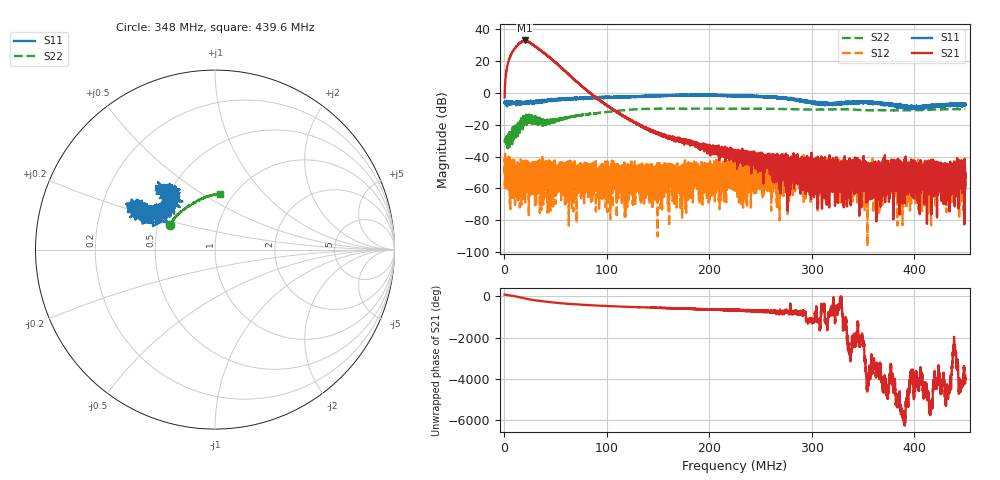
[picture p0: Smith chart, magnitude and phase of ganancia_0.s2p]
# Hz S DB R 50
! CMT, M5065, 19127446, 24.2.4/2
! Date: 12/3/2024 4:23:08 PM
! Data: Format (Calibration Info)
! Freq	S11:dB/Ang(F2)	S21:dB/Ang(F2)	S12:dB/Ang(F2)	S22:dB/Ang(F2)
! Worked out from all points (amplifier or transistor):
!   9000 points, 300 kHz to 450 MHz, reference 50 ohm
!   highest |S21| = 32.9 dB at 19.99 MHz (marker M1)
!   |S21| within 3 dB of that: 12.91 MHz to 28.56 MHz (15.65 MHz wide, 75.5 % of centre)
!   unconditionally stable (mu >= 1): start of sweep to end of sweep
!   at 75.26 MHz: K = 101.61, MAG = 7.3 dB, |S12| = -56.4 dB
!   at 225.2 MHz: K = 3590.94, MAG = -33.1 dB, |S12| = -49.3 dB
!   at 450 MHz: K = 152496.77, MAG = -58.4 dB, |S12| = -52.7 dB
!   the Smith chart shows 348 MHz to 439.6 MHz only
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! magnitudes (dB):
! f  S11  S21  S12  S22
! 300 kHz  -6.4  -2.9  -59.4  -30.1
! 2.699 MHz  -5.8  16.2  -47.5  -30.1
! 6.197 MHz  -7.5  23.7  -42.7  -27.8
! 12.69 MHz  -6.1  29.8  -46.2  -20.9
! 19.99 MHz  -6.9  32.9  -49.7  -18.2
! 41.73 MHz  -4.5  23.6  -49.1  -18.2
! 55.27 MHz  -4.2  16.0  -50.8  -16.6
! 60.72 MHz  -4.1  12.9  -49.4  -15.4
! 75.26 MHz  -3.4  4.5  -56.4  -14.0
! 114.4 MHz  -2.5  -13.8  -50.8  -11.0
! 119.8 MHz  -2.6  -15.7  -48.1  -10.6
! 128.9 MHz  -2.5  -19.3  -53.7  -10.3
! 150.2 MHz  -2.0  -25.8  -48.0  -9.9
! 215.1 MHz  -1.7  -35.4  -43.7  -9.9
! 218.8 MHz  -1.8  -41.0  -52.6  -9.9
! 225.2 MHz  -1.8  -38.3  -49.3  -9.9
! 300.1 MHz  -6.4  -46.5  -40.6  -10.5
! 347.4 MHz  -6.1  -48.9  -53.4  -10.8
! 365.8 MHz  -6.0  -48.9  -64.9  -10.9
! 375.1 MHz  -7.3  -54.8  -56.5  -10.9
! 446.7 MHz  -7.2  -47.2  -53.5  -10.2
! 450 MHz  -6.8  -59.9  -52.7  -10.2
